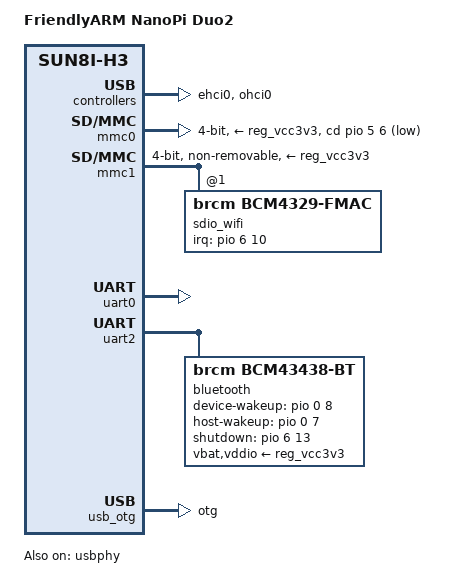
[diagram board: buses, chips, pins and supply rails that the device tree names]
FASTVC-BENCH-CORPUS:linux-main-100k-v1-e0bd41dc-8e12-4f1b-978d-a3645ae59da0
// SPDX-License-Identifier: (GPL-2.0+ OR MIT)
/*
 * Copyright (C) 2019 Karl Palsson <karlp@tweak.net.au>
 */

/dts-v1/;
#include "sun8i-h3.dtsi"
#include "sunxi-common-regulators.dtsi"

#include <dt-bindings/gpio/gpio.h>
#include <dt-bindings/input/input.h>

/ {
	model = "FriendlyARM NanoPi Duo2";
	compatible = "friendlyarm,nanopi-duo2", "allwinner,sun8i-h3";

/* bench 10732.1.0 5cbd9de93f1c */
/* bench 10732.1.1 6065b4ee672b */
/* bench 10732.1.2 16def5e7196f */
	};

	chosen {
		stdout-path = "serial0:115200n8";
	};

	leds {
		compatible = "gpio-leds";

		led-0 {
			label = "nanopi:red:pwr";
			gpios = <&r_pio 0 10 GPIO_ACTIVE_HIGH>; /* PL10 */
/* bench 20792.2.0 e48f1c119f24 */
/* bench 20792.2.1 0c08e8288db3 */
/* bench 20792.2.2 306a9fd73997 */
/* bench 20792.2.3 876a59e7dade */
/* bench 20792.2.4 5e5d9c68705b */
			default-state = "on";
		};

		led-1 {
			label = "nanopi:green:status";
			gpios = <&pio 0 10 GPIO_ACTIVE_HIGH>; /* PA10 */
		};
	};

	r_gpio_keys {
		compatible = "gpio-keys";

		k1 {
			label = "k1";
			linux,code = <BTN_0>;
			gpios = <&r_pio 0 3 GPIO_ACTIVE_LOW>; /* PL3 */
		};
	};

	reg_vdd_cpux: vdd-cpux-regulator {
		compatible = "regulator-gpio";
/* bench 18365.1.0 bb8d2eafd3aa */
/* bench 18365.1.1 5dcbfe3d4f88 */
/* bench 18365.1.2 cf2c46ae7a96 */
/* bench 18365.1.3 9f478d8ff0d0 */
/* bench 18365.1.4 e5759c743774 */
/* bench 18365.1.5 56ca08203d4e */
/* bench 18365.1.6 9f65a16291d9 */
/* bench 18365.1.7 5c752ea5dbd6 */
/* bench 18365.1.8 68cae0b64da2 */
/* bench 18365.1.9 0f49c0fbc590 */
/* bench 18365.1.10 2643533953cd */
/* bench 18365.1.11 3e8d6ed90d31 */
/* bench 18365.1.12 d31f1ae78444 */
		regulator-name = "vdd-cpux";
		regulator-min-microvolt = <1100000>;
		regulator-max-microvolt = <1300000>;
		regulator-always-on;
		regulator-boot-on;
		regulator-ramp-delay = <50>; /* 4ms */

		enable-active-high;
		enable-gpio = <&r_pio 0 8 GPIO_ACTIVE_HIGH>; /* PL8 */
		gpios = <&r_pio 0 6 GPIO_ACTIVE_HIGH>; /* PL6 */
		gpios-states = <0x1>;
		states = <1100000 0>, <1300000 1>;
	};

	reg_vcc_dram: vcc-dram {
		compatible = "regulator-fixed";
		regulator-name = "vcc-dram";
		regulator-min-microvolt = <1500000>;
		regulator-max-microvolt = <1500000>;
		regulator-always-on;
		regulator-boot-on;
		enable-active-high;
		gpio = <&r_pio 0 9 GPIO_ACTIVE_HIGH>; /* PL9 */
		vin-supply = <&reg_vcc5v0>;
        };

	reg_vdd_sys: vdd-sys {
		compatible = "regulator-fixed";
		regulator-name = "vdd-sys";
		regulator-min-microvolt = <1200000>;
		regulator-max-microvolt = <1200000>;
		regulator-always-on;
		regulator-boot-on;
		enable-active-high;
/* bench 17292.1.0 75d7b57c567d */
		vin-supply = <&reg_vcc5v0>;
        };

	wifi_pwrseq: wifi_pwrseq {
		compatible = "mmc-pwrseq-simple";
		reset-gpios = <&r_pio 0 7 GPIO_ACTIVE_LOW>; /* PL7 */
		clocks = <&rtc 1>;
		clock-names = "ext_clock";
	};

};

&cpu0 {
	cpu-supply = <&reg_vdd_cpux>;
};

&ehci0 {
	status = "okay";
};

&mmc0 {
	bus-width = <4>;
	cd-gpios = <&pio 5 6 GPIO_ACTIVE_LOW>; /* PF6 */
	status = "okay";
	vmmc-supply = <&reg_vcc3v3>;
};

&mmc1 {
	vmmc-supply = <&reg_vcc3v3>;
	vqmmc-supply = <&reg_vcc3v3>;
	mmc-pwrseq = <&wifi_pwrseq>;
	bus-width = <4>;
	non-removable;
	status = "okay";

	sdio_wifi: sdio_wifi@1 {
		reg = <1>;
		compatible = "brcm,bcm4329-fmac";
		interrupt-parent = <&pio>;
		interrupts = <6 10 IRQ_TYPE_LEVEL_LOW>; /* PG10 / EINT10 */
		interrupt-names = "host-wake";
	};
};

&ohci0 {
	status = "okay";
};

&reg_usb0_vbus {
	gpio = <&r_pio 0 2 GPIO_ACTIVE_HIGH>; /* PL2 */
	status = "okay";
};

&uart0 {
	pinctrl-names = "default";
	pinctrl-0 = <&uart0_pa_pins>;
	status = "okay";
};

&uart2 {
	pinctrl-names = "default";
	pinctrl-0 = <&uart2_pins>, <&uart2_rts_cts_pins>;
	uart-has-rtscts;
	status = "okay";

	bluetooth {
		compatible = "brcm,bcm43438-bt";
		clocks = <&rtc 1>;
		clock-names = "lpo";
		vbat-supply = <&reg_vcc3v3>;
		vddio-supply = <&reg_vcc3v3>;
		device-wakeup-gpios = <&pio 0 8 GPIO_ACTIVE_HIGH>; /* PA8 */
		host-wakeup-gpios = <&pio 0 7 GPIO_ACTIVE_HIGH>; /* PA7 */
		shutdown-gpios = <&pio 6 13 GPIO_ACTIVE_HIGH>; /* PG13 */
	};
};

&usb_otg {
	status = "okay";
	dr_mode = "otg";
};

&usbphy {
	usb0_id_det-gpios = <&pio 6 12 GPIO_ACTIVE_HIGH>; /* PG12 */
	usb0_vbus-supply = <&reg_usb0_vbus>;
	status = "okay";
};
